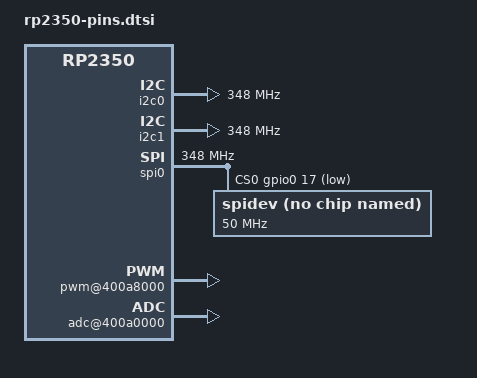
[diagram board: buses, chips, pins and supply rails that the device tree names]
// SPDX-License-Identifier: GPL-2.0
/*
 * The board's pins for Linux on core 0 (pins/README.md):
 *   /dev/gpiochip0  GP0-GP47 (the board's own pins reserved)
 *   /dev/i2c-0      I2C0 on GP4 (SDA) / GP5 (SCL); /dev/i2c-1 I2C1 on GP6 / GP7
 *   /dev/spidev0.0  SPI0: GP16 RX, GP17 CS (a GPIO), GP18 SCK, GP19 TX
 *   pwmchip0        channel N = GPN, N < 40
 *   iio:device0     rp2350-adc: GP40-GP47 and the temperature sensor
 *   /dev/pio1, /dev/pio2, with DMA channels 12-15
 * Core 1 keeps GP0 (PSRAM), GP8-GP11 (SD card, SPI1), GP23/24/25/29 (Wi-Fi,
 * PIO0) and USB. The clocks are the boot stub's: clk_sys = clk_peri =
 * 348 MHz, clk_adc 48 MHz.
 */
#define RP2350_SYS_HZ 348000000
#define PIO_GPIOS <&gpio0 0 0>, <&gpio0 1 0>, <&gpio0 2 0>, <&gpio0 3 0>, <&gpio0 4 0>, <&gpio0 5 0>, <&gpio0 6 0>, <&gpio0 7 0>, \
	<&gpio0 8 0>, <&gpio0 9 0>, <&gpio0 10 0>, <&gpio0 11 0>, <&gpio0 12 0>, <&gpio0 13 0>, <&gpio0 14 0>, <&gpio0 15 0>, \
	<&gpio0 16 0>, <&gpio0 17 0>, <&gpio0 18 0>, <&gpio0 19 0>, <&gpio0 20 0>, <&gpio0 21 0>, <&gpio0 22 0>, <&gpio0 23 0>, \
	<&gpio0 24 0>, <&gpio0 25 0>, <&gpio0 26 0>, <&gpio0 27 0>, <&gpio0 28 0>, <&gpio0 29 0>, <&gpio0 30 0>, <&gpio0 31 0>, \
	<&gpio0 32 0>, <&gpio0 33 0>, <&gpio0 34 0>, <&gpio0 35 0>, <&gpio0 36 0>, <&gpio0 37 0>, <&gpio0 38 0>, <&gpio0 39 0>, \
	<&gpio0 40 0>, <&gpio0 41 0>, <&gpio0 42 0>, <&gpio0 43 0>, <&gpio0 44 0>, <&gpio0 45 0>, <&gpio0 46 0>, <&gpio0 47 0>

/ {
	aliases {
		i2c0 = &i2c0;
		i2c1 = &i2c1;
		spi0 = &spi0;
	};
};

&{/soc} {
	gpio0: gpio@40028000 {
		compatible = "raspberrypi,rp2350-gpio";
		reg = <0x40028000 0x320>;
		interrupts = <21>;	/* IO_IRQ_BANK0 */
		gpio-controller;
		#gpio-cells = <2>;
		interrupt-controller;
		#interrupt-cells = <2>;
		/* PSRAM_CS, I2C0/1, SPI1 (SD), SPI0 but its CS, Wi-Fi, ADC */
		gpio-reserved-ranges = <0 1>, <4 4>, <8 4>, <16 1>, <18 2>, <23 3>,
				       <29 1>, <40 8>;
		gpio-line-names =
			"PSRAM_CS", "GP1", "GP2", "GP3", "I2C0_SDA", "I2C0_SCL", "I2C1_SDA", "I2C1_SCL",
			"SPI1_RX", "SPI1_CS", "SPI1_SCK", "SPI1_TX", "GP12", "GP13", "GP14", "GP15",
			"SPI0_RX", "SPI0_CS", "SPI0_SCK", "SPI0_TX", "GP20", "GP21", "GP22", "WL_ON",
			"WL_D", "WL_CS", "GP26", "GP27", "GP28", "WL_CLK", "GP30", "GP31",
			"GP32", "GP33", "GP34", "GP35", "GP36", "GP37", "GP38", "GP39",
			"ADC0", "ADC1", "ADC2", "ADC3", "ADC4", "ADC5", "ADC6", "ADC7";
	};

	i2c0: i2c@40090000 {
		compatible = "raspberrypi,rp2350-i2c";
		reg = <0x40090000 0x100>;
		clock-frequency = <RP2350_SYS_HZ>;	/* clk_sys */
		raspberrypi,pins = <4 5>;		/* SDA, SCL */
		#address-cells = <1>;
		#size-cells = <0>;
	};

	i2c1: i2c@40098000 {
		compatible = "raspberrypi,rp2350-i2c";
		reg = <0x40098000 0x100>;
		clock-frequency = <RP2350_SYS_HZ>;
		raspberrypi,pins = <6 7>;
		#address-cells = <1>;
		#size-cells = <0>;
	};

	spi0: spi@40080000 {
		compatible = "raspberrypi,rp2350-spi";
		reg = <0x40080000 0x1000>;
		clock-frequency = <RP2350_SYS_HZ>;	/* clk_peri */
		raspberrypi,pins = <16 18 19>;		/* RX, SCK, TX */
		cs-gpios = <&gpio0 17 1>;		/* active low */
		#address-cells = <1>;
		#size-cells = <0>;
		spidev@0 {
			compatible = "rohm,dh2228fv";
			reg = <0>;
			spi-max-frequency = <50000000>;
		};
	};

	pwm@400a8000 {
		compatible = "raspberrypi,rp2350-pwm";
		reg = <0x400a8000 0x110>;
		clock-frequency = <RP2350_SYS_HZ>;
		#pwm-cells = <3>;
	};

	adc@400a0000 {
		compatible = "raspberrypi,rp2350-adc";
		reg = <0x400a0000 0x24>;
		#io-channel-cells = <1>;
	};

	dma@50000300 {
		compatible = "raspberrypi,rp2350-pio-dma";
		reg = <0x50000300 0x100>;	/* channels 12-15 */
		interrupts = <13>;		/* DMA_IRQ_3 */
	};

	/* every GPIO line (by number), which the driver takes from gpiolib
	 * while a block has the pin */
	pio@50300000 {
		compatible = "raspberrypi,rp2350-pio";
		reg = <0x50300000 0x4000>;	/* with the XOR/SET/CLR aliases */
		interrupts = <17>;		/* PIO1_IRQ_0 */
		clock-frequency = <RP2350_SYS_HZ>;
		raspberrypi,block = <1>;
		pio-gpios = PIO_GPIOS;
	};

	pio@50400000 {
		compatible = "raspberrypi,rp2350-pio";
		reg = <0x50400000 0x4000>;
		interrupts = <19>;		/* PIO2_IRQ_0 */
		clock-frequency = <RP2350_SYS_HZ>;
		raspberrypi,block = <2>;
		pio-gpios = PIO_GPIOS;
	};
};

#ifdef PINS_TESTFS
/*
 * Testing only (PINS_TESTFS=1 run-build.sh kernel, pins/load-test.sh): a
 * romfs of out/pins-root in flash at 0x10C00000, loaded without rebuilding
 * the squashfs root. mount -t romfs mtd:pins /pins
 */
&{/soc} {
	pins-test@10c00000 {
		compatible = "mtd-rom";
		reg = <0x10c00000 0x200000>;
		bank-width = <4>;
		label = "pins";
	};
};
#endif
